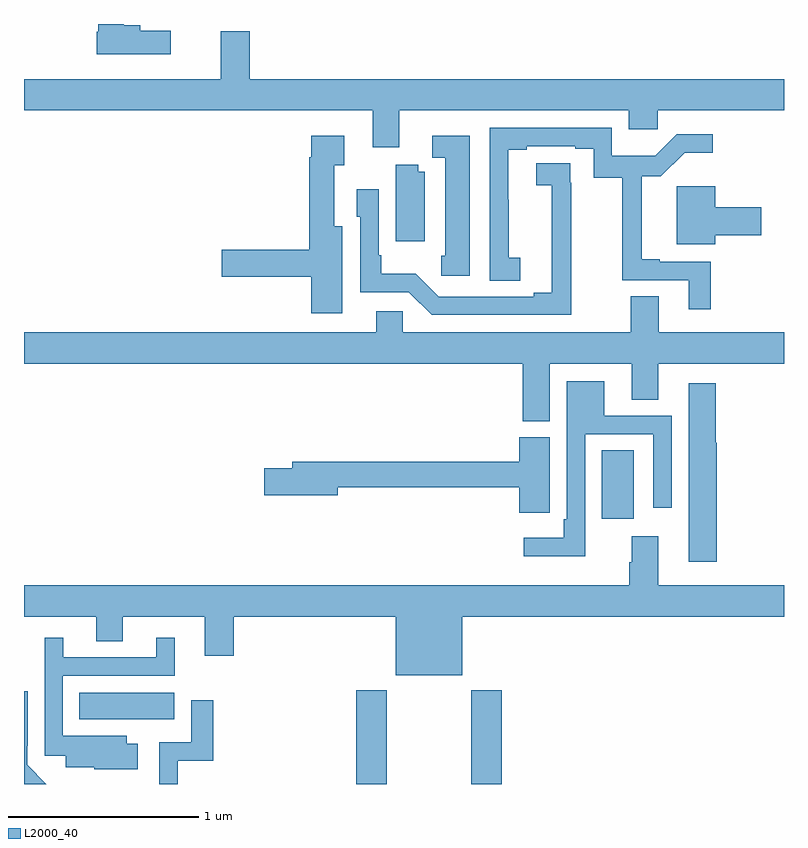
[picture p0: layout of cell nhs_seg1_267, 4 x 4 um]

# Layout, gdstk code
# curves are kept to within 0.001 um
import gdstk
lib = gdstk.Library(unit=1e-6, precision=1e-09)
def R(c, l, rs):  # rectangles x0, y0, x1, y1
    for r in rs: c.add(gdstk.rectangle(r[:2], r[2:], *l))
def P(c, l, *ps):  # polygons
    for p in ps: c.add(gdstk.Polygon(p, *l))
L2000_40 = (2000, 40)

nhs_seg1_267 = lib.new_cell('nhs_seg1_267')
R(nhs_seg1_267, L2000_40, [(126.749,536.199,126.909,536.692), (127.354,536.199,127.514,536.692), (125.29,536.54,125.791,536.68), (128.042,537.594,128.209,537.956)])
P(nhs_seg1_267, L2000_40, [(125.773,540.163),(125.611,540.163),(125.611,540.193),(125.524,540.193),(125.524,540.199),(125.39,540.199),(125.39,540.159),(125.384,540.159),(125.384,540.041),(125.773,540.041)],
  [(126.976,539.744),(128.183,539.744),(128.183,539.646),(128.335,539.646),(128.335,539.744),(129,539.744),(129,539.908),(126.188,539.908),(126.188,540.16),(126.035,540.16),(126.035,539.908),(125,539.908),(125,539.744),(126.836,539.744),(126.836,539.55),(126.976,539.55)],
  [(128.615,538.947),(128.347,538.947),(128.347,538.96),(128.252,538.96),(128.252,539.397),(128.351,539.397),(128.477,539.522),(128.626,539.522),(128.626,539.619),(128.436,539.619),(128.323,539.506),(128.094,539.506),(128.094,539.652),(127.452,539.652),(127.452,538.849),(127.612,538.849),(127.612,538.969),(127.551,538.969),(127.551,539.273),(127.549,539.273),(127.549,539.536),(127.645,539.536),(127.645,539.556),(127.901,539.556),(127.901,539.542),(127.998,539.542),(127.998,539.389),(128.149,539.389),(128.149,538.851),(128.498,538.851),(128.498,538.698),(128.615,538.698)],
  [(127.345,539.611),(127.149,539.611),(127.149,539.496),(127.217,539.496),(127.217,538.98),(127.195,538.98),(127.195,538.875),(127.345,538.875)],
  [(126.676,539.134),(126.634,539.134),(126.634,539.455),(126.685,539.455),(126.685,539.611),(126.512,539.611),(126.512,539.498),(126.5,539.498),(126.5,539.012),(126.042,539.012),(126.042,538.87),(126.512,538.87),(126.512,538.677),(126.676,538.677)],
  [(127.88,539.363),(127.874,539.363),(127.874,539.465),(127.695,539.465),(127.695,539.35),(127.777,539.35),(127.778,538.784),(127.682,538.784),(127.682,538.764),(127.182,538.764),(127.061,538.885),(126.88,538.885),(126.88,538.981),(126.867,538.981),(126.867,539.329),(126.75,539.329),(126.75,539.184),(126.771,539.184),(126.771,538.788),(127.026,538.788),(127.146,538.668),(127.88,538.668)],
  [(127.108,539.422),(127.076,539.422),(127.076,539.459),(126.956,539.459),(126.956,539.055),(127.108,539.055)],
  [(128.638,539.087),(128.881,539.087),(128.881,539.234),(128.638,539.234),(128.638,539.344),(128.435,539.344),(128.435,539.039),(128.638,539.039)],
  [(127.768,538.412),(128.198,538.412),(128.198,538.222),(128.338,538.222),(128.338,538.412),(129,538.412),(129,538.576),(128.341,538.576),(128.341,538.766),(128.194,538.766),(128.194,538.576),(126.993,538.576),(126.993,538.686),(126.854,538.686),(126.854,538.576),(125,538.576),(125,538.412),(127.625,538.412),(127.625,538.108),(127.768,538.108)],
  [(127.953,538.041),(128.313,538.041),(128.313,537.654),(128.409,537.654),(128.409,538.137),(128.053,538.137),(128.053,538.318),(127.857,538.318),(127.857,537.592),(127.841,537.592),(127.841,537.496),(127.629,537.496),(127.629,537.398),(127.953,537.398)],
  [(128.645,537.996),(128.64,537.996),(128.64,538.309),(128.498,538.309),(128.498,537.369),(128.645,537.369)],
  [(127.767,537.739),(127.768,537.739),(127.768,538.023),(127.607,538.023),(127.607,537.896),(126.413,537.896),(126.413,537.86),(126.264,537.86),(126.264,537.718),(126.652,537.718),(126.652,537.76),(127.607,537.76),(127.607,537.627),(127.767,537.627)],
  [(127.306,537.08),(129,537.08),(129,537.244),(128.338,537.244),(128.338,537.502),(128.198,537.502),(128.198,537.365),(128.186,537.365),(128.186,537.244),(125,537.244),(125,537.08),(125.381,537.08),(125.381,536.95),(125.521,536.95),(125.521,537.08),(125.951,537.08),(125.951,536.874),(126.104,536.874),(126.104,537.08),(126.956,537.08),(126.956,536.771),(127.306,536.771)],
  [(125.599,536.41),(125.542,536.41),(125.542,536.452),(125.205,536.452),(125.205,536.769),(125.794,536.769),(125.794,536.968),(125.696,536.968),(125.696,536.865),(125.206,536.865),(125.206,536.968),(125.109,536.968),(125.109,536.349),(125.219,536.349),(125.219,536.288),(125.37,536.288),(125.37,536.276),(125.599,536.276)],
  [(125.016,536.301),(125.016,536.401),(125.019,536.401),(125.019,536.686),(125,536.686),(125,536.199),(125.118,536.199)],
  [(125.809,536.322),(125.996,536.322),(125.996,536.641),(125.88,536.641),(125.88,536.418),(125.712,536.418),(125.712,536.199),(125.809,536.199)])

lib.write_gds('nhs_seg1_267.gds')
